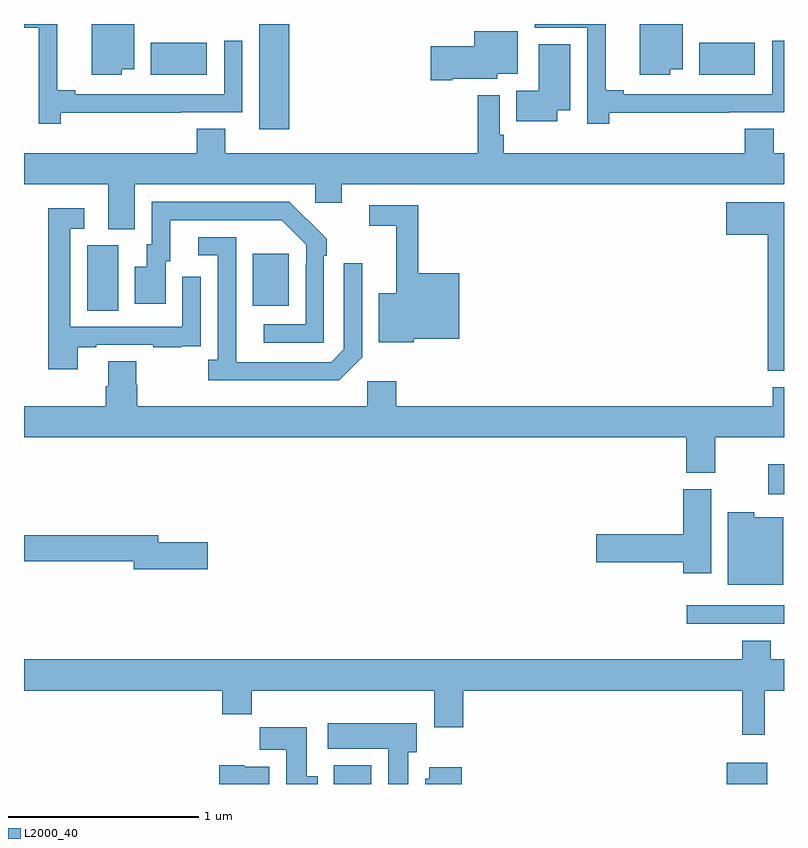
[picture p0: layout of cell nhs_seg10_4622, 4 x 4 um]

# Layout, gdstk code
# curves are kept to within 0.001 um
import gdstk
lib = gdstk.Library(unit=1e-6, precision=1e-09)
def R(c, l, rs):  # rectangles x0, y0, x1, y1
    for r in rs: c.add(gdstk.rectangle(r[:2], r[2:], *l))
def P(c, l, *ps):  # polygons
    for p in ps: c.add(gdstk.Polygon(p, *l))
L2000_40 = (2000, 40)

nhs_seg10_4622 = lib.new_cell('nhs_seg10_4622')
R(nhs_seg10_4622, L2000_40, [(376.631,1290.5,376.828,1290.598), (378.698,1290.5,378.913,1290.613), (378.489,1291.344,379,1291.44), (378.918,1292.024,379,1292.182), (375.332,1292.992,375.496,1293.336), (376.205,1293.017,376.393,1293.292), (376.238,1293.945,376.397,1294.5), (375.668,1294.232,375.961,1294.402), (378.554,1294.232,378.847,1294.402)])
P(nhs_seg10_4622, L2000_40, [(378.08,1294.034),(378.71,1294.034),(378.71,1294.035),(379,1294.035),(379,1294.411),(378.939,1294.411),(378.939,1294.131),(378.157,1294.131),(378.157,1294.151),(378.062,1294.151),(378.062,1294.5),(377.687,1294.5),(377.687,1294.479),(377.964,1294.479),(377.964,1293.975),(378.08,1293.975)],
  [(378.4,1294.262),(378.466,1294.262),(378.466,1294.5),(378.242,1294.5),(378.242,1294.232),(378.4,1294.232)],
  [(375.514,1294.262),(375.58,1294.262),(375.58,1294.5),(375.356,1294.5),(375.356,1294.232),(375.514,1294.232)],
  [(375.194,1294.034),(375.824,1294.034),(375.824,1294.035),(376.149,1294.035),(376.149,1294.411),(376.053,1294.411),(376.053,1294.131),(375.271,1294.131),(375.271,1294.151),(375.176,1294.151),(375.176,1294.5),(375,1294.5),(375,1294.479),(375.078,1294.479),(375.078,1293.975),(375.194,1293.975)],
  [(377.254,1294.211),(377.49,1294.211),(377.49,1294.238),(377.599,1294.238),(377.599,1294.462),(377.369,1294.462),(377.369,1294.382),(377.142,1294.382),(377.142,1294.204),(377.254,1294.204)],
  [(377.806,1294.046),(377.875,1294.046),(377.875,1294.394),(377.708,1294.394),(377.708,1294.15),(377.59,1294.15),(377.59,1293.989),(377.806,1293.989)],
  [(379,1293.82),(378.946,1293.82),(378.946,1293.95),(378.794,1293.95),(378.794,1293.82),(377.525,1293.82),(377.525,1293.916),(377.505,1293.916),(377.505,1294.126),(377.389,1294.126),(377.389,1293.82),(376.06,1293.82),(376.06,1293.95),(375.908,1293.95),(375.908,1293.82),(375,1293.82),(375,1293.656),(375.443,1293.656),(375.443,1293.421),(375.583,1293.421),(375.583,1293.656),(376.533,1293.656),(376.533,1293.558),(376.672,1293.558),(376.672,1293.656),(379,1293.656)],
  [(376.578,1293.281),(376.593,1293.281),(376.593,1293.369),(376.396,1293.564),(375.672,1293.564),(375.672,1293.342),(375.647,1293.342),(375.647,1293.223),(375.584,1293.223),(375.584,1293.027),(375.745,1293.027),(375.745,1293.252),(375.769,1293.252),(375.769,1293.468),(376.357,1293.468),(376.485,1293.339),(376.485,1293.239),(376.482,1293.239),(376.482,1292.919),(376.263,1292.919),(376.263,1292.823),(376.578,1292.823)],
  [(379,1293.562),(378.696,1293.562),(378.696,1293.392),(378.914,1293.392),(378.914,1292.675),(379,1292.675)],
  [(377.052,1292.843),(377.29,1292.843),(377.29,1293.187),(377.075,1293.187),(377.075,1293.546),(376.818,1293.546),(376.818,1293.438),(376.958,1293.438),(376.958,1293.082),(376.868,1293.082),(376.868,1292.825),(377.052,1292.825)],
  [(375.283,1292.799),(375.379,1292.799),(375.379,1292.811),(375.679,1292.811),(375.679,1292.799),(375.827,1292.799),(375.827,1292.805),(375.929,1292.805),(375.929,1292.914),(375.93,1292.914),(375.93,1293.169),(375.834,1293.169),(375.834,1292.907),(375.243,1292.907),(375.243,1293.423),(375.316,1293.423),(375.316,1293.529),(375.127,1293.529),(375.127,1292.682),(375.283,1292.682)],
  [(376.779,1292.745),(376.779,1293.241),(376.683,1293.241),(376.683,1292.787),(376.617,1292.721),(376.117,1292.721),(376.116,1293.378),(375.918,1293.378),(375.918,1293.282),(376.02,1293.282),(376.02,1292.734),(375.969,1292.734),(375.969,1292.624),(376.658,1292.624)],
  [(378.637,1292.324),(379,1292.324),(379,1292.587),(378.941,1292.587),(378.941,1292.488),(376.958,1292.488),(376.958,1292.62),(376.806,1292.62),(376.806,1292.488),(375.596,1292.488),(375.596,1292.601),(375.591,1292.601),(375.591,1292.726),(375.443,1292.726),(375.443,1292.594),(375.431,1292.594),(375.431,1292.488),(375,1292.488),(375,1292.324),(378.485,1292.324),(378.485,1292.137),(378.637,1292.137)],
  [(378.616,1292.052),(378.47,1292.052),(378.47,1291.814),(378.012,1291.814),(378.012,1291.667),(378.47,1291.667),(378.47,1291.608),(378.616,1291.608)],
  [(378.997,1291.903),(378.843,1291.903),(378.843,1291.93),(378.704,1291.93),(378.704,1291.55),(378.997,1291.55)],
  [(375.967,1291.772),(375.706,1291.772),(375.706,1291.808),(375,1291.808),(375,1291.672),(375.578,1291.672),(375.578,1291.63),(375.967,1291.63)],
  [(378.781,1290.759),(378.899,1290.759),(378.899,1290.992),(379,1290.992),(379,1291.156),(378.931,1291.156),(378.931,1291.255),(378.779,1291.255),(378.779,1291.156),(375,1291.156),(375,1290.992),(376.043,1290.992),(376.043,1290.868),(376.199,1290.868),(376.199,1290.992),(377.159,1290.992),(377.159,1290.798),(377.312,1290.798),(377.312,1290.992),(378.781,1290.992)],
  [(377.023,1290.666),(377.068,1290.666),(377.068,1290.82),(376.599,1290.82),(376.599,1290.686),(376.916,1290.686),(376.916,1290.5),(377.023,1290.5)],
  [(376.546,1290.54),(376.489,1290.54),(376.489,1290.799),(376.24,1290.799),(376.24,1290.68),(376.379,1290.68),(376.379,1290.5),(376.546,1290.5)],
  [(376.291,1290.592),(376.158,1290.592),(376.158,1290.598),(376.028,1290.598),(376.028,1290.5),(376.291,1290.5)],
  [(377.303,1290.589),(377.132,1290.589),(377.132,1290.528),(377.111,1290.528),(377.111,1290.5),(377.303,1290.5)])

lib.write_gds('nhs_seg10_4622.gds')
